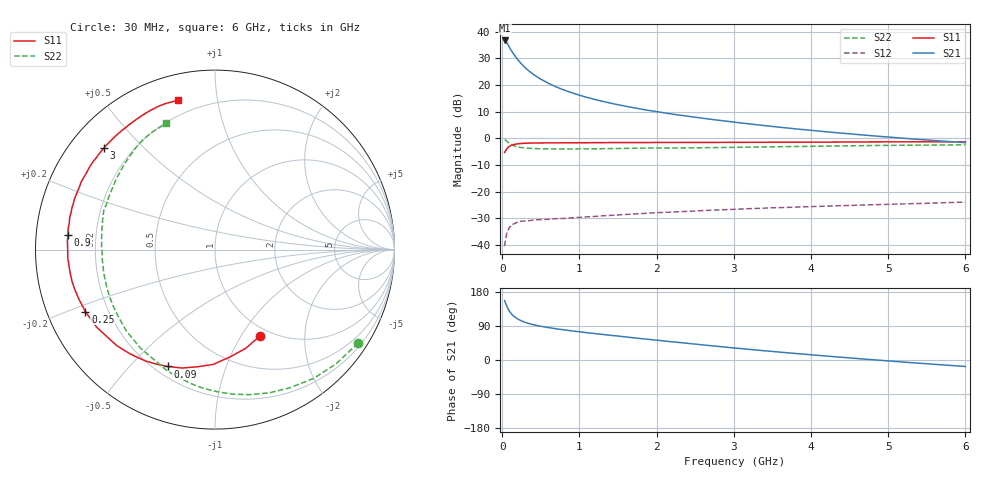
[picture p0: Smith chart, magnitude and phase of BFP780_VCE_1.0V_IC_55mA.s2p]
! Infineon Technologies  Discrete & RF Semiconductors
! BFP780
! VCE =  1.0 V,  IC =  55 mA
! Common Emitter S-Parameters:  Jul 2015
# GHz  S  MA  R  50
!  f  S11  S21  S12  S22
! GHz  MAG  ANG  MAG  ANG  MAG  ANG  MAG  ANG
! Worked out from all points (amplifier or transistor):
!   75 points, 30 MHz to 6 GHz, reference 50 ohm
!   highest |S21| = 36.8 dB at 30 MHz (marker M1)
!   |S21| within 3 dB of that: start of sweep to 101 MHz
!   unconditionally stable (mu >= 1): 2.006 GHz to end of sweep
!   at 150 MHz: K = 0.12, MSG = 31.9 dB, |S12| = -32.2 dB
!   at 2.3 GHz: K = 1.10, MAG = 16.2 dB, |S12| = -27.6 dB
!   at 6 GHz: K = 1.55, MAG = 6.8 dB, |S12| = -24.0 dB
!   S11 on the Smith chart (normalised r, x): 30 MHz: 0.90, -1.22; 90 MHz: 0.25, -0.64; 250 MHz: 0.12, -0.22; 900 MHz: 0.10, +0.05; 3 GHz: 0.10, +0.38; 6 GHz: 0.12, +0.78
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0.03  0.5418 -62.2  68.91 156.6  0.0094 70.6  0.952 -33.2
0.04  0.576 -72.7  67.32 151.2  0.0123 64.4  0.9273 -43.4
0.05  0.6033 -81.9  65.03 146.0  0.0143 63.1  0.9042 -52.5
0.06  0.6398 -90.9  62.12 141.5  0.0172 53.3  0.8757 -61.5
0.07  0.6601 -98.5  58.76 137.1  0.0177 51.1  0.8539 -69.1
0.09  0.7028 -112.1  52.04 129.5  0.0209 46.1  0.8112 -83.2
0.11  0.7313 -122.0  46.35 123.7  0.0222 38.4  0.7759 -94.8
0.12  0.7412 -126.2  43.93 121.3  0.0238 37.6  0.7595 -99.8
0.15  0.7654 -135.7  37.76 115.4  0.0246 32.6  0.7239 -112.1
0.2  0.7888 -146.8  30.06 108.1  0.0267 26.9  0.6884 -127.1
0.25  0.8006 -154.4  24.84 103.0  0.0278 22.6  0.6704 -137.5
0.35  0.8125 -164.3  18.16 95.9  0.0284 19.0  0.6484 -151.2
0.5  0.8182 -172.9  12.87 89.0  0.0296 17.8  0.6359 -163.0
0.7  0.8207 179.7  9.217 82.3  0.0309 17.4  0.6299 -172.6
0.9  0.8235 174.2  7.169 76.9  0.032 17.9  0.6294 -179.1
1.1  0.8253 169.6  5.85 72.0  0.0334 18.5  0.6327 175.7
2.1  0.8346 151.8  3.003 50.2  0.0404 18.7  0.6548 158.1
3  0.8393 137.6  2.016 31.8  0.0463 16.3  0.676 144.3
3.1  0.8394 136.3  1.938 30.0  0.0469 16.0  0.679 142.9
4.1  0.846 122.5  1.367 12.1  0.0526 12.1  0.71 130.5
5.1  0.8584 111.7  1.029 -3.9  0.0581 7.7  0.7376 120.2
6  0.8563 103.8  0.828 -17.1  0.0634 3.3  0.7535 111.1
